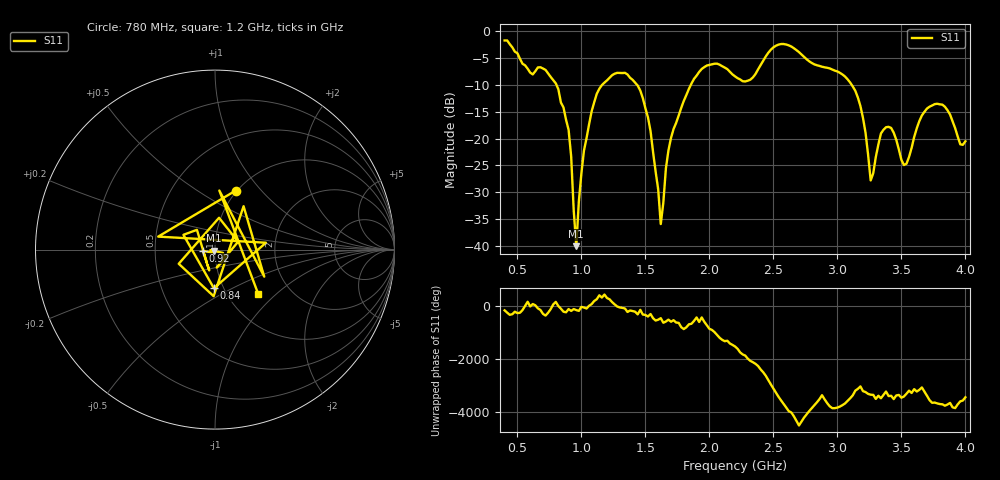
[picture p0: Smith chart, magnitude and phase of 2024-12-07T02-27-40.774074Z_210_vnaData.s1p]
!Created with skrf (http://scikit-rf.org).
# Hz S RI R 50.0
!freq ReS11 ImS11
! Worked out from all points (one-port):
!   181 points, 400 MHz to 4 GHz, reference 50 ohm
!   lowest |S11| = -40.0 dB at 960 MHz (marker M1), VSWR 1.02, Z = 49.2 - j0.561 ohm
!   |S11| at or under -10 dB: 804.2 MHz to 1.164 GHz (359.5 MHz wide, 36.5 % of centre); 1.433 GHz to 1.856 GHz (422.7 MHz wide, 25.7 % of centre); 3.111 GHz to end of sweep
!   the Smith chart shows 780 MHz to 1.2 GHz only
!   S11 on the Smith chart (normalised r, x): 780 MHz: 0.99, +0.74; 840 MHz: 0.90, -0.41; 920 MHz: 0.87, -0.01; 1.2 GHz: 1.38, -0.78
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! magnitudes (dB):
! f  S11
! 400 MHz  -1.8
! 780 MHz  -9.2
! 840 MHz  -13.3
! 860 MHz  -14.2
! 920 MHz  -23.3
! 960 MHz  -40.0
! 980 MHz  -31.7
! 1.02 GHz  -22.2
! 1.12 GHz  -11.7
! 1.2 GHz  -9.2
! 1.3 GHz  -7.8
! 1.48 GHz  -12.5
! 1.54 GHz  -18.6
! 1.62 GHz  -35.9
! 1.68 GHz  -22.2
! 1.76 GHz  -15.7
! 1.96 GHz  -6.7
! 2.2 GHz  -8.5
! 2.66 GHz  -3.2
! 3.1 GHz  -9.6
! 3.2 GHz  -16.2
! 3.26 GHz  -27.8
! 3.38 GHz  -17.9
! 3.52 GHz  -24.9
! 3.56 GHz  -23.4
! 3.66 GHz  -15.7
! 3.76 GHz  -13.6
! 4 GHz  -20.5
